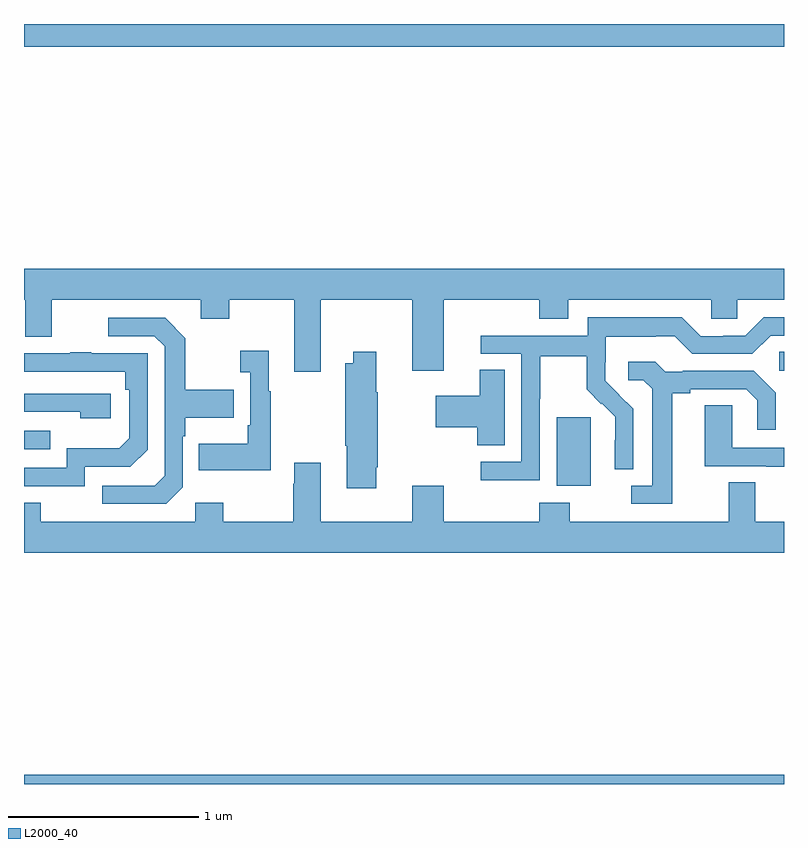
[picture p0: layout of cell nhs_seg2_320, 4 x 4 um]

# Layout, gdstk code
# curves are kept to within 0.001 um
import gdstk
lib = gdstk.Library(unit=1e-6, precision=1e-09)
def R(c, l, rs):  # rectangles x0, y0, x1, y1
    for r in rs: c.add(gdstk.rectangle(r[:2], r[2:], *l))
def P(c, l, *ps):  # polygons
    for p in ps: c.add(gdstk.Polygon(p, *l))
L2000_40 = (2000, 40)

nhs_seg2_320 = lib.new_cell('nhs_seg2_320')
R(nhs_seg2_320, L2000_40, [(127,599.8,131,599.848), (129.803,601.37,129.982,601.731), (127,601.563,127.139,601.659), (130.974,601.974,131,602.075), (127,603.68,131,603.8)])
P(nhs_seg2_320, L2000_40, [(128.563,602.348),(129.044,602.348),(129.044,601.974),(129.208,601.974),(129.208,602.348),(129.713,602.348),(129.713,602.249),(129.865,602.249),(129.865,602.348),(130.617,602.348),(130.617,602.25),(130.755,602.25),(130.755,602.348),(131,602.348),(131,602.512),(127,602.512),(127,602.348),(127.007,602.348),(127.007,602.154),(127.147,602.154),(127.147,602.348),(127.931,602.348),(127.931,602.249),(128.079,602.249),(128.079,602.348),(128.423,602.348),(128.423,601.971),(128.563,601.971)],
  [(129.714,601.828),(129.717,601.828),(129.717,602.052),(129.961,602.052),(129.961,601.877),(130.038,601.8),(130.041,601.803),(130.112,601.733),(130.112,601.61),(130.11,601.61),(130.11,601.456),(130.206,601.456),(130.206,601.774),(130.06,601.922),(130.06,602.019),(130.062,602.019),(130.062,602.153),(130.325,602.153),(130.325,602.157),(130.425,602.157),(130.518,602.064),(130.833,602.064),(130.929,602.16),(131,602.16),(131,602.256),(130.893,602.256),(130.797,602.16),(130.679,602.16),(130.679,602.157),(130.563,602.157),(130.463,602.257),(129.966,602.257),(129.966,602.16),(129.405,602.16),(129.405,602.064),(129.618,602.064),(129.618,601.497),(129.405,601.497),(129.405,601.399),(129.714,601.399)],
  [(127.836,601.362),(127.836,601.631),(127.849,601.631),(127.849,601.727),(128.105,601.727),(128.105,601.875),(127.849,601.875),(127.849,602.147),(127.743,602.253),(127.443,602.253),(127.443,602.157),(127.686,602.157),(127.74,602.103),(127.74,601.422),(127.689,601.371),(127.413,601.371),(127.413,601.275),(127.749,601.275)],
  [(128.299,601.867),(128.287,601.867),(128.287,602.08),(128.139,602.08),(128.139,601.967),(128.19,601.967),(128.19,601.687),(128.178,601.687),(128.178,601.591),(127.921,601.591),(127.921,601.451),(128.299,601.451)],
  [(128.854,601.468),(128.862,601.468),(128.862,601.861),(128.854,601.861),(128.854,602.074),(128.732,602.074),(128.732,602.014),(128.692,602.014),(128.692,601.579),(128.699,601.579),(128.699,601.356),(128.854,601.356)],
  [(127.32,601.47),(127.56,601.47),(127.65,601.56),(127.65,602.067),(127.355,602.067),(127.355,602.072),(127.243,602.072),(127.243,602.067),(127,602.067),(127,601.971),(127.534,601.971),(127.534,601.874),(127.554,601.874),(127.554,601.62),(127.501,601.567),(127.224,601.567),(127.224,601.464),(127,601.464),(127,601.368),(127.32,601.368)],
  [(130.411,601.856),(130.507,601.856),(130.507,601.878),(130.802,601.878),(130.859,601.821),(130.859,601.665),(130.956,601.665),(130.956,601.858),(130.84,601.974),(130.468,601.974),(130.468,601.971),(130.374,601.971),(130.322,602.023),(130.179,602.023),(130.179,601.926),(130.26,601.926),(130.307,601.879),(130.307,601.371),(130.197,601.371),(130.197,601.275),(130.411,601.275)],
  [(129.529,601.979),(129.398,601.979),(129.398,601.843),(129.168,601.843),(129.168,601.678),(129.386,601.678),(129.386,601.582),(129.529,601.582)],
  [(127.456,601.854),(127,601.854),(127,601.758),(127.295,601.758),(127.295,601.724),(127.456,601.724)],
  [(131,601.569),(130.728,601.569),(130.728,601.793),(130.583,601.793),(130.583,601.473),(130.907,601.473),(130.907,601.469),(131,601.469)],
  [(131,601.18),(130.849,601.18),(130.849,601.388),(130.709,601.388),(130.709,601.18),(129.873,601.18),(129.873,601.279),(129.713,601.279),(129.713,601.18),(129.208,601.18),(129.208,601.369),(129.044,601.369),(129.044,601.18),(128.563,601.18),(128.563,601.492),(128.423,601.492),(128.423,601.379),(128.416,601.379),(128.416,601.18),(128.049,601.18),(128.049,601.279),(127.902,601.279),(127.902,601.18),(127.089,601.18),(127.089,601.279),(127,601.279),(127,601.016),(131,601.016)])

lib.write_gds('nhs_seg2_320.gds')
